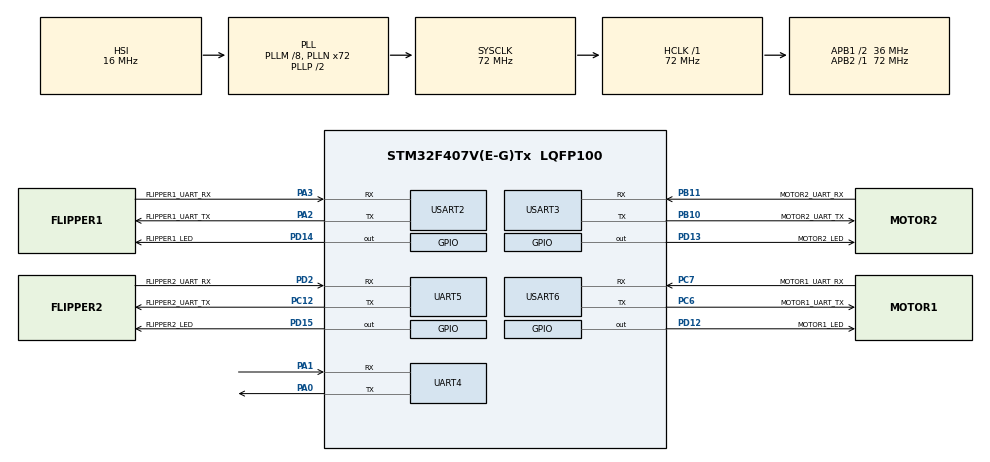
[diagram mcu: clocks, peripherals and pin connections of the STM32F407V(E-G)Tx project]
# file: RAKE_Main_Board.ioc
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Mcu.Family=STM32F4
Mcu.Name=STM32F407V(E-G)Tx
Mcu.Package=LQFP100
NVIC.PriorityGroup=NVIC_PRIORITYGROUP_4
NVIC.TIM2_IRQn=true\:0\:0\:false\:false\:true\:true\:true
NVIC.UART4_IRQn=true\:1\:0\:true\:false\:true\:true\:true
NVIC.UART5_IRQn=true\:1\:0\:true\:false\:true\:true\:true
NVIC.USART2_IRQn=true\:1\:0\:true\:false\:true\:true\:true
NVIC.USART3_IRQn=true\:1\:0\:true\:false\:true\:true\:true
NVIC.USART6_IRQn=true\:1\:0\:true\:false\:true\:true\:true
PA0-WKUP.Mode=Asynchronous
PA0-WKUP.Signal=UART4_TX
PA1.Mode=Asynchronous
PA1.Signal=UART4_RX
PA13.Mode=Serial_Wire
PA13.Signal=SYS_JTMS-SWDIO
PA14.Mode=Serial_Wire
PA14.Signal=SYS_JTCK-SWCLK
PA2.GPIO_Label=FLIPPER1_UART_TX
PA2.Mode=Asynchronous
PA2.Signal=USART2_TX
PA3.GPIO_Label=FLIPPER1_UART_RX
PA3.Mode=Asynchronous
PA3.Signal=USART2_RX
PB10.GPIO_Label=MOTOR2_UART_TX
PB10.Mode=Asynchronous
PB10.Signal=USART3_TX
PB11.GPIO_Label=MOTOR2_UART_RX
PB11.Mode=Asynchronous
PB11.Signal=USART3_RX
PC12.GPIO_Label=FLIPPER2_UART_TX
PC12.Mode=Asynchronous
PC12.Signal=UART5_TX
PC6.GPIO_Label=MOTOR1_UART_TX
PC6.Mode=Asynchronous
PC6.Signal=USART6_TX
PC7.GPIO_Label=MOTOR1_UART_RX
PC7.Mode=Asynchronous
PC7.Signal=USART6_RX
PD12.GPIO_Label=MOTOR1_LED
PD12.Signal=GPIO_Output
PD13.GPIO_Label=MOTOR2_LED
PD13.Signal=GPIO_Output
PD14.GPIO_Label=FLIPPER1_LED
PD14.Signal=GPIO_Output
PD15.GPIO_Label=FLIPPER2_LED
PD15.Signal=GPIO_Output
PD2.GPIO_Label=FLIPPER2_UART_RX
PD2.Mode=Asynchronous
PD2.Signal=UART5_RX
PH0-OSC_IN.Mode=HSE-External-Oscillator
PH0-OSC_IN.Signal=RCC_OSC_IN
PH1-OSC_OUT.Mode=HSE-External-Oscillator
PH1-OSC_OUT.Signal=RCC_OSC_OUT
ProjectManager.HeapSize=0x200
ProjectManager.StackSize=0x400
ProjectManager.TargetToolchain=MDK-ARM V5.27
RCC.48MHZClocksFreq_Value=36000000
RCC.AHBFreq_Value=72000000
RCC.APB1CLKDivider=RCC_HCLK_DIV2
RCC.APB1Freq_Value=36000000
RCC.APB1TimFreq_Value=72000000
RCC.APB2Freq_Value=72000000
RCC.APB2TimFreq_Value=72000000
RCC.CortexFreq_Value=72000000
RCC.HCLKFreq_Value=72000000
RCC.HSE_VALUE=25000000
RCC.HSI_VALUE=16000000
RCC.LSE_VALUE=32768
RCC.PLLM=8
RCC.PLLN=72
RCC.SYSCLKFreq_VALUE=72000000
RCC.SYSCLKSource=RCC_SYSCLKSOURCE_PLLCLK
RCC.VCOOutputFreq_Value=144000000
TIM2.Period=999
TIM2.Prescaler=15
UART4.VirtualMode=Asynchronous
UART5.VirtualMode=Asynchronous
USART2.VirtualMode=VM_ASYNC
USART3.VirtualMode=VM_ASYNC
USART6.VirtualMode=VM_ASYNC
VP_TIM2_VS_ClockSourceINT.Mode=Internal
board=custom

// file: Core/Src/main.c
/* USER CODE BEGIN Header */
/**
  ******************************************************************************
  * @file           : main.c
  * @brief          : Main program body
  ******************************************************************************
  * @attention
  *
  * <h2><center>&copy; Copyright (c) 2022 STMicroelectronics.
  * All rights reserved.</center></h2>
  *
  * This software component is licensed by ST under BSD 3-Clause license,
  * the "License"; You may not use this file except in compliance with the
  * License. You may obtain a copy of the License at:
  *                        opensource.org/licenses/BSD-3-Clause
  *
  ******************************************************************************
  */
/* USER CODE END Header */
#include "main.h"

/* USER CODE BEGIN PD */
#define TX_TIME 10
/* USER CODE END PD */

TIM_HandleTypeDef htim2;

UART_HandleTypeDef huart4;
UART_HandleTypeDef huart5;
UART_HandleTypeDef huart2;
UART_HandleTypeDef huart3;
UART_HandleTypeDef huart6;

/* USER CODE BEGIN PV */

typedef struct uartStruct{
	unsigned char rxData[30];
	unsigned char rxBuffer[30];
	unsigned char txBuffer[30];
	uint16_t txBufferLength;
}Uart;

Uart PcUart;
Uart Motor1Uart;
Uart Motor2Uart;
Uart Flipper1Uart;
Uart Flipper2Uart;

struct flagStruct {
	struct {
		_Bool motorForward_bit;
		_Bool motorBackward_bit;
		_Bool UART_bit;
		_Bool CANBUS_bit;
		_Bool adminMode_bit;
		_Bool testMode_bit;
		_Bool normalMode_bit;
		_Bool ERROR_bit;
	} LED;
	struct {
		uint8_t rxIndex_bool;
		_Bool rxComplete_bool;
	} UART;
};

//flag pc_flag;
//flag motor1_flag;
//flag motor2_flag;

struct flagStruct flag = {{0,0,0,0,0,0,0,0},{0,0}};

typedef struct motorStruct{
	uint32_t RPM;
	_Bool direction;
}Motor;

Motor Motor1;
Motor Motor2;

typedef struct flipperStruct{
	uint32_t position;
	_Bool direction;
}Flipper;

Flipper Flipper1;
Flipper Flipper2;

uint16_t communicationUart = 0;

/* USER CODE END PV */

void SystemClock_Config(void);
static void MX_GPIO_Init(void);
static void MX_TIM2_Init(void);
static void MX_UART5_Init(void);
static void MX_USART2_UART_Init(void);
static void MX_USART3_UART_Init(void);
static void MX_USART6_UART_Init(void);
static void MX_UART4_Init(void);
/* USER CODE BEGIN PFP */

void RAKE_UART_Led_Controller(){
		HAL_GPIO_WritePin(GPIOD, MOTOR1_LED_Pin|MOTOR2_LED_Pin|FLIPPER1_LED_Pin|FLIPPER2_LED_Pin, GPIO_PIN_SET);
		HAL_Delay(250);
		HAL_GPIO_WritePin(GPIOD, MOTOR1_LED_Pin|MOTOR2_LED_Pin|FLIPPER1_LED_Pin|FLIPPER2_LED_Pin, GPIO_PIN_RESET);
		HAL_Delay(250);
}

void HAL_TIM_PeriodElapsedCallback(TIM_HandleTypeDef *htim) {
	if(htim->Instance == TIM2) {
		communicationUart++;
	}
}

void RAKE_UART_Callback(Uart *uart, UART_HandleTypeDef *huart) {

		flag.LED.UART_bit = 1;

		//RX Buffer sifirlandi
		if(flag.UART.rxIndex_bool == 0) {
			for(uint8_t index; index < 30; index++) {
				uart->rxBuffer[index] = 0;
			}
		}
		if(uart->rxData[0] == 'S') {
			flag.UART.rxIndex_bool = 0;
		}

		//RX Buffer a veriler yazildi
		if(uart->rxData[0] != 'F'){
			uart->rxBuffer[flag.UART.rxIndex_bool++] = uart->rxData[0];
			//RAKE_UART_Led_Controller();
		} else {
			flag.UART.rxIndex_bool = 0;
			flag.UART.rxComplete_bool = 1;

		}

		HAL_UART_Receive_IT(huart, uart->rxData, 1);
}

/* USER CODE END PFP */

/* USER CODE BEGIN 0 */
void HAL_UART_RxCpltCallback(UART_HandleTypeDef *huart) {
	if(huart->Instance == UART4){
		RAKE_UART_Callback(&PcUart, &huart4);
	}else {
		flag.LED.UART_bit = 0;
	}
	if(huart->Instance == USART6){
		RAKE_UART_Callback(&Motor1Uart, &huart6);
	}else {
		flag.LED.UART_bit = 0;
	}
	if(huart->Instance == USART3){
		RAKE_UART_Callback(&Motor2Uart, &huart3);
	}else {
		flag.LED.UART_bit = 0;
	}
		if(huart->Instance == USART2){
		RAKE_UART_Callback(&Flipper1Uart, &huart2);
	}else {
		flag.LED.UART_bit = 0;
	}
		if(huart->Instance == UART5){
		RAKE_UART_Callback(&Flipper2Uart, &huart5);
	}else {
		flag.LED.UART_bit = 0;
	}
}

void RAKE_Rx_Motor_Speed(void) {
	if(flag.UART.rxComplete_bool == 1) {
		if(PcUart.rxBuffer[20] == 'C') {

			//String olarak alinan degerler int e cevirildi
			Motor1.RPM 	=
															(PcUart.rxBuffer[2] - '0') * 100 +
															(PcUart.rxBuffer[3] - '0') * 10 +
															(PcUart.rxBuffer[4] - '0');

			Motor1.direction = 			(PcUart.rxBuffer[1] - '0');

			Motor2.RPM 	=
															(PcUart.rxBuffer[7] - '0') * 100 +
															(PcUart.rxBuffer[8] - '0') * 10 +
															(PcUart.rxBuffer[9] - '0');

			Motor2.direction = 			(PcUart.rxBuffer[6] - '0');

			Flipper1.position =
															(PcUart.rxBuffer[12] - '0') * 100 +
															(PcUart.rxBuffer[13] - '0') * 10 +
															(PcUart.rxBuffer[14] - '0');

			Flipper1.direction = 		(PcUart.rxBuffer[11] - '0');

			Flipper2.position =
															(PcUart.rxBuffer[17] - '0') * 100 +
															(PcUart.rxBuffer[18] - '0') * 10 +
															(PcUart.rxBuffer[19] - '0');

			Flipper2.direction = 		(PcUart.rxBuffer[16] - '0');

			flag.UART.rxComplete_bool = 0;
		}
	}
}
void RAKE_Tx_Motor_Speed(void) {
	if(communicationUart > TX_TIME){
		/*
			Data Type --> "SavvvCF"
			S = Start								(char)
			a = measured.direction 	(integer)
			vvv = measured.RPM			(char[3])
			C = Control							(char)
			F = Finish							(char)
		*/

		//RPM ve direction verileri motorlara gönderildi
		int hun = 0, ten = 0, one = 0;

		hun = (Motor1.RPM / 100);
		ten	= (Motor1.RPM % 100) / 10;
		one	= (Motor1.RPM % 10);

		Motor1Uart.txBufferLength = sprintf(Motor1Uart.txBuffer, "S%d%d%d%dCF",
															 Motor1.direction, hun, ten, one);

		HAL_UART_Transmit_IT(&huart6, Motor1Uart.txBuffer, Motor1Uart.txBufferLength);

		hun = (Motor2.RPM / 100);
		ten	= (Motor2.RPM % 100) / 10;
		one	= (Motor2.RPM % 10);

		Motor2Uart.txBufferLength = sprintf(Motor2Uart.txBuffer, "S%d%d%d%dCF",
															 Motor2.direction, hun, ten, one);

		HAL_UART_Transmit_IT(&huart3, Motor2Uart.txBuffer, Motor2Uart.txBufferLength);

		hun = (Flipper1.position / 100);
		ten	= (Flipper1.position % 100) / 10;
		one	= (Flipper1.position % 10);

		Flipper1Uart.txBufferLength = sprintf(Flipper1Uart.txBuffer, "S%d%d%d%dCF",
															 Flipper1.direction, hun, ten, one);

		HAL_UART_Transmit_IT(&huart2, Flipper1Uart.txBuffer, Flipper1Uart.txBufferLength);

		hun = (Flipper2.position / 100);
		ten	= (Flipper2.position % 100) / 10;
		one	= (Flipper2.position % 10);

		Flipper2Uart.txBufferLength = sprintf(Flipper2Uart.txBuffer, "S%d%d%d%dCF",
															 Flipper2.direction, hun, ten, one);

		HAL_UART_Transmit_IT(&huart5, Flipper2Uart.txBuffer, Flipper2Uart.txBufferLength);

		//Motorlardan gelen veriler istenilen data formatina cevirildi
		/*
		strcat(Motor1Uart.rxBuffer, Motor1Uart.rxBuffer);
		Motor1Uart.rxBuffer[12] = 'F';
		for (int c = 6 - 1; c < 12 - 1; c++) {
			Motor1Uart.rxBuffer[c] = Motor1Uart.rxBuffer[c+1];
		}
		Motor1Uart.rxBuffer[5] = '-';
    strcpy(&Motor1Uart.rxBuffer[10], &Motor1Uart.rxBuffer[10 + 1]);,
		*/
		//HAL_UART_Transmit_IT(&huart4, Motor1Uart.rxBuffer, sizeof(Motor1Uart.rxBuffer));

		communicationUart = 0;

	}
}

/* USER CODE END 0 */

int main(void)
{

  /* MCU Configuration--------------------------------------------------------*/

  /* Reset of all peripherals, Initializes the Flash interface and the Systick. */
   HAL_Init();

  /* Configure the system clock */
  SystemClock_Config();

  /* Initialize all configured peripherals */
  MX_GPIO_Init();
  MX_TIM2_Init();
  MX_UART5_Init();
  MX_USART2_UART_Init();
  MX_USART3_UART_Init();
  MX_USART6_UART_Init();
  MX_UART4_Init();
  /* USER CODE BEGIN 2 */
	//Baslangicta UART dan veri alma islemi gerceklestirildi
	HAL_UART_Receive_IT(&huart4, PcUart.rxData, 1);
	HAL_UART_Receive_IT(&huart6, Motor1Uart.rxData, 1);
	HAL_UART_Receive_IT(&huart3, Motor2Uart.rxData, 1);
	HAL_UART_Receive_IT(&huart2, Flipper1Uart.rxData, 1);
	HAL_UART_Receive_IT(&huart5, Flipper2Uart.rxData, 1);
	//Baslangicta TIM_Interrupt baslatildi
	HAL_TIM_Base_Start_IT(&htim2);
  /* USER CODE END 2 */

  /* Infinite loop */
  while (1)
  {

    /* USER CODE BEGIN 3 */
		RAKE_Rx_Motor_Speed();
		RAKE_Tx_Motor_Speed();
  }
  /* USER CODE END 3 */
}

void SystemClock_Config(void)
{
  RCC_OscInitTypeDef RCC_OscInitStruct = {0};
  RCC_ClkInitTypeDef RCC_ClkInitStruct = {0};

  /** Configure the main internal regulator output voltage
  */
  __HAL_RCC_PWR_CLK_ENABLE();
  __HAL_PWR_VOLTAGESCALING_CONFIG(PWR_REGULATOR_VOLTAGE_SCALE1);
  /** Initializes the RCC Oscillators according to the specified parameters
  * in the RCC_OscInitTypeDef structure.
  */
  RCC_OscInitStruct.OscillatorType = RCC_OSCILLATORTYPE_HSI;
  RCC_OscInitStruct.HSIState = RCC_HSI_ON;
  RCC_OscInitStruct.HSICalibrationValue = RCC_HSICALIBRATION_DEFAULT;
  RCC_OscInitStruct.PLL.PLLState = RCC_PLL_ON;
  RCC_OscInitStruct.PLL.PLLSource = RCC_PLLSOURCE_HSI;
  RCC_OscInitStruct.PLL.PLLM = 8;
  RCC_OscInitStruct.PLL.PLLN = 72;
  RCC_OscInitStruct.PLL.PLLP = RCC_PLLP_DIV2;
  RCC_OscInitStruct.PLL.PLLQ = 4;
  if (HAL_RCC_OscConfig(&RCC_OscInitStruct) != HAL_OK)
  {
    Error_Handler();
  }
  /** Initializes the CPU, AHB and APB buses clocks
  */
  RCC_ClkInitStruct.ClockType = RCC_CLOCKTYPE_HCLK|RCC_CLOCKTYPE_SYSCLK
                              |RCC_CLOCKTYPE_PCLK1|RCC_CLOCKTYPE_PCLK2;
  RCC_ClkInitStruct.SYSCLKSource = RCC_SYSCLKSOURCE_PLLCLK;
  RCC_ClkInitStruct.AHBCLKDivider = RCC_SYSCLK_DIV1;
  RCC_ClkInitStruct.APB1CLKDivider = RCC_HCLK_DIV2;
  RCC_ClkInitStruct.APB2CLKDivider = RCC_HCLK_DIV1;

  if (HAL_RCC_ClockConfig(&RCC_ClkInitStruct, FLASH_LATENCY_2) != HAL_OK)
  {
    Error_Handler();
  }
}

static void MX_TIM2_Init(void)
{

  TIM_ClockConfigTypeDef sClockSourceConfig = {0};
  TIM_MasterConfigTypeDef sMasterConfig = {0};

  htim2.Instance = TIM2;
  htim2.Init.Prescaler = 15;
  htim2.Init.CounterMode = TIM_COUNTERMODE_UP;
  htim2.Init.Period = 999;
  htim2.Init.ClockDivision = TIM_CLOCKDIVISION_DIV1;
  htim2.Init.AutoReloadPreload = TIM_AUTORELOAD_PRELOAD_DISABLE;
  if (HAL_TIM_Base_Init(&htim2) != HAL_OK)
  {
    Error_Handler();
  }
  sClockSourceConfig.ClockSource = TIM_CLOCKSOURCE_INTERNAL;
  if (HAL_TIM_ConfigClockSource(&htim2, &sClockSourceConfig) != HAL_OK)
  {
    Error_Handler();
  }
  sMasterConfig.MasterOutputTrigger = TIM_TRGO_RESET;
  sMasterConfig.MasterSlaveMode = TIM_MASTERSLAVEMODE_DISABLE;
  if (HAL_TIMEx_MasterConfigSynchronization(&htim2, &sMasterConfig) != HAL_OK)
  {
    Error_Handler();
  }

}

static void MX_UART4_Init(void)
{

  huart4.Instance = UART4;
  huart4.Init.BaudRate = 115200;
  huart4.Init.WordLength = UART_WORDLENGTH_8B;
  huart4.Init.StopBits = UART_STOPBITS_1;
  huart4.Init.Parity = UART_PARITY_NONE;
  huart4.Init.Mode = UART_MODE_TX_RX;
  huart4.Init.HwFlowCtl = UART_HWCONTROL_NONE;
  huart4.Init.OverSampling = UART_OVERSAMPLING_16;
  if (HAL_UART_Init(&huart4) != HAL_OK)
  {
    Error_Handler();
  }

}

static void MX_UART5_Init(void)
{

  huart5.Instance = UART5;
  huart5.Init.BaudRate = 115200;
  huart5.Init.WordLength = UART_WORDLENGTH_8B;
  huart5.Init.StopBits = UART_STOPBITS_1;
  huart5.Init.Parity = UART_PARITY_NONE;
  huart5.Init.Mode = UART_MODE_TX_RX;
  huart5.Init.HwFlowCtl = UART_HWCONTROL_NONE;
  huart5.Init.OverSampling = UART_OVERSAMPLING_16;
  if (HAL_UART_Init(&huart5) != HAL_OK)
  {
    Error_Handler();
  }

}

static void MX_USART2_UART_Init(void)
{

  huart2.Instance = USART2;
  huart2.Init.BaudRate = 115200;
  huart2.Init.WordLength = UART_WORDLENGTH_8B;
  huart2.Init.StopBits = UART_STOPBITS_1;
  huart2.Init.Parity = UART_PARITY_NONE;
  huart2.Init.Mode = UART_MODE_TX_RX;
  huart2.Init.HwFlowCtl = UART_HWCONTROL_NONE;
  huart2.Init.OverSampling = UART_OVERSAMPLING_16;
  if (HAL_UART_Init(&huart2) != HAL_OK)
  {
    Error_Handler();
  }

}

static void MX_USART3_UART_Init(void)
{

  huart3.Instance = USART3;
  huart3.Init.BaudRate = 115200;
  huart3.Init.WordLength = UART_WORDLENGTH_8B;
  huart3.Init.StopBits = UART_STOPBITS_1;
  huart3.Init.Parity = UART_PARITY_NONE;
  huart3.Init.Mode = UART_MODE_TX_RX;
  huart3.Init.HwFlowCtl = UART_HWCONTROL_NONE;
  huart3.Init.OverSampling = UART_OVERSAMPLING_16;
  if (HAL_UART_Init(&huart3) != HAL_OK)
  {
    Error_Handler();
  }

}

static void MX_USART6_UART_Init(void)
{

  huart6.Instance = USART6;
  huart6.Init.BaudRate = 115200;
  huart6.Init.WordLength = UART_WORDLENGTH_8B;
  huart6.Init.StopBits = UART_STOPBITS_1;
  huart6.Init.Parity = UART_PARITY_NONE;
  huart6.Init.Mode = UART_MODE_TX_RX;
  huart6.Init.HwFlowCtl = UART_HWCONTROL_NONE;
  huart6.Init.OverSampling = UART_OVERSAMPLING_16;
  if (HAL_UART_Init(&huart6) != HAL_OK)
  {
    Error_Handler();
  }

}

static void MX_GPIO_Init(void)
{
  GPIO_InitTypeDef GPIO_InitStruct = {0};

  /* GPIO Ports Clock Enable */
  __HAL_RCC_GPIOH_CLK_ENABLE();
  __HAL_RCC_GPIOA_CLK_ENABLE();
  __HAL_RCC_GPIOB_CLK_ENABLE();
  __HAL_RCC_GPIOD_CLK_ENABLE();
  __HAL_RCC_GPIOC_CLK_ENABLE();

  /*Configure GPIO pin Output Level */
  HAL_GPIO_WritePin(GPIOD, MOTOR1_LED_Pin|MOTOR2_LED_Pin|FLIPPER1_LED_Pin|FLIPPER2_LED_Pin, GPIO_PIN_RESET);

  /*Configure GPIO pins : MOTOR1_LED_Pin MOTOR2_LED_Pin FLIPPER1_LED_Pin FLIPPER2_LED_Pin */
  GPIO_InitStruct.Pin = MOTOR1_LED_Pin|MOTOR2_LED_Pin|FLIPPER1_LED_Pin|FLIPPER2_LED_Pin;
  GPIO_InitStruct.Mode = GPIO_MODE_OUTPUT_PP;
  GPIO_InitStruct.Pull = GPIO_NOPULL;
  GPIO_InitStruct.Speed = GPIO_SPEED_FREQ_LOW;
  HAL_GPIO_Init(GPIOD, &GPIO_InitStruct);

}

void Error_Handler(void)
{
  __disable_irq();
  while (1)
  {
  }
}

/************************ (C) COPYRIGHT STMicroelectronics *****END OF FILE****/
